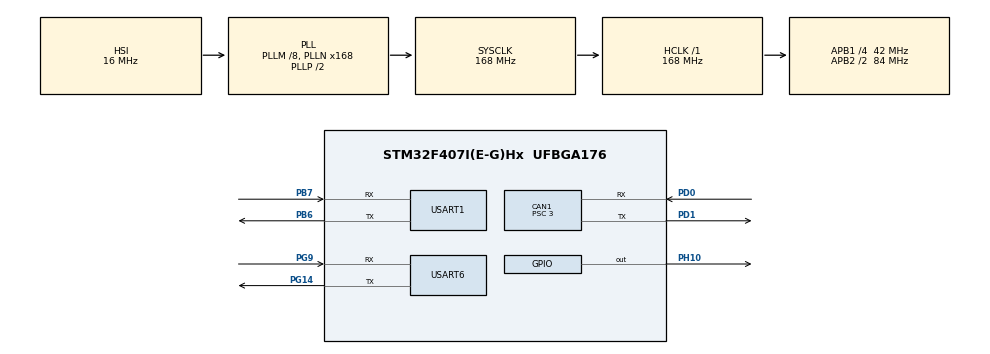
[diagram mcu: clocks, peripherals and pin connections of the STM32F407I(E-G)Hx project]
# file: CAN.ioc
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CAN1.BS1=CAN_BS1_10TQ
CAN1.BS2=CAN_BS2_3TQ
CAN1.CalculateBaudRate=1000000
CAN1.CalculateTimeBit=1000
CAN1.CalculateTimeQuantum=71.42857142857143
CAN1.Mode=CAN_MODE_NORMAL
CAN1.Prescaler=3
FREERTOS.Tasks01=defaultTask,0,128,StartDefaultTask,Default,NULL,Dynamic,NULL,NULL;gm6020,0,128,drive,As external,NULL,Dynamic,NULL,NULL;pid_test,0,128,test,As external,NULL,Dynamic,NULL,NULL
Mcu.Family=STM32F4
Mcu.Name=STM32F407I(E-G)Hx
Mcu.Package=UFBGA176
NVIC.CAN1_RX0_IRQn=true\:5\:0\:false\:false\:true\:true\:true\:true\:true
NVIC.PriorityGroup=NVIC_PRIORITYGROUP_4
PA13.Mode=Serial_Wire
PA13.Signal=SYS_JTMS-SWDIO
PA14.Mode=Serial_Wire
PA14.Signal=SYS_JTCK-SWCLK
PB6.Mode=Asynchronous
PB6.Signal=USART1_TX
PB7.Mode=Asynchronous
PB7.Signal=USART1_RX
PD0.Mode=CAN_Activate
PD0.Signal=CAN1_RX
PD1.Mode=CAN_Activate
PD1.Signal=CAN1_TX
PG14.Mode=Asynchronous
PG14.Signal=USART6_TX
PG9.Mode=Asynchronous
PG9.Signal=USART6_RX
PH0-OSC_IN.Mode=HSE-External-Oscillator
PH0-OSC_IN.Signal=RCC_OSC_IN
PH1-OSC_OUT.Mode=HSE-External-Oscillator
PH1-OSC_OUT.Signal=RCC_OSC_OUT
PH10.Signal=GPIO_Output
ProjectManager.HeapSize=0x200
ProjectManager.StackSize=0x400
ProjectManager.TargetToolchain=MDK-ARM V5.32
RCC.48MHZClocksFreq_Value=84000000
RCC.AHBFreq_Value=168000000
RCC.APB1CLKDivider=RCC_HCLK_DIV4
RCC.APB1Freq_Value=42000000
RCC.APB1TimFreq_Value=84000000
RCC.APB2CLKDivider=RCC_HCLK_DIV2
RCC.APB2Freq_Value=84000000
RCC.APB2TimFreq_Value=168000000
RCC.CortexFreq_Value=168000000
RCC.HCLKFreq_Value=168000000
RCC.HSE_VALUE=25000000
RCC.HSI_VALUE=16000000
RCC.LSE_VALUE=32768
RCC.PLLM=8
RCC.PLLN=168
RCC.SYSCLKFreq_VALUE=168000000
RCC.SYSCLKSource=RCC_SYSCLKSOURCE_PLLCLK
RCC.VCOOutputFreq_Value=336000000
USART1.VirtualMode=VM_ASYNC
USART6.VirtualMode=VM_ASYNC
VP_FREERTOS_VS_CMSIS_V1.Mode=CMSIS_V1
board=custom

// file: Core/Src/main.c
/* USER CODE BEGIN Header */
/**
  ******************************************************************************
  * @file           : main.c
  * @brief          : Main program body
  ******************************************************************************
  * @attention
  *
  * Copyright (c) 2025 STMicroelectronics.
  * All rights reserved.
  *
  * This software is licensed under terms that can be found in the LICENSE file
  * in the root directory of this software component.
  * If no LICENSE file comes with this software, it is provided AS-IS.
  *
  ******************************************************************************
  */
/* USER CODE END Header */
#include "main.h"
#include "cmsis_os.h"
#include "can.h"
#include "usart.h"
#include "gpio.h"

/* USER CODE BEGIN Includes */
#include "motor.h"
#include <stdio.h>
#include "pid.h"
/* USER CODE END Includes */

/* USER CODE BEGIN PTD */
float motor_data[4];
int target=0;
/* USER CODE END PTD */

void SystemClock_Config(void);
void MX_FREERTOS_Init(void);

/* USER CODE BEGIN 0 */
void drive()
{
	while(1)
	{
		deg_pid(target,&deg_k,motor_data);
		speed_pid(deg_k.speed_output,&speed_k,motor_data);
		//speed_pid(target,&speed_k,motor_data);
		volt_gen(speed_k.speed_output,0,0,0,volt_val);
		Motor_send(0x1FF,8,volt_val);
		vTaskDelay(1);
	}
}

void test()
{
	//target=200;
	while(1)
	{
		//target+=2048;
		//target%=8192;
		target=1000;
		deg_k.e_int=0;
		speed_k.e_int=0;
		vTaskDelay(500);
		target=3000;
		deg_k.e_int=0;
		speed_k.e_int=0;
		vTaskDelay(500);
	}
}
/* USER CODE END 0 */

int main(void)
{

  /* MCU Configuration--------------------------------------------------------*/

  /* Reset of all peripherals, Initializes the Flash interface and the Systick. */
  HAL_Init();

  /* Configure the system clock */
  SystemClock_Config();

  /* Initialize all configured peripherals */
  MX_GPIO_Init();
  MX_CAN1_Init();
  MX_USART1_UART_Init();
  MX_USART6_UART_Init();
  /* USER CODE BEGIN 2 */
	can_filter_init();
	uint8_t buf[8]={0x07,0xD0,0x07,0xD0,0x07,0xD0,0x07,0xD0};
	speed_k.kp=0;speed_k.ki=6;speed_k.kd=1;speed_k.epsilon=200;
	deg_k.kp=2.4;deg_k.ki=0;deg_k.kd=20;deg_k.epsilon=100;
  /* USER CODE END 2 */

  /* Call init function for freertos objects (in cmsis_os2.c) */
  MX_FREERTOS_Init();

  /* Start scheduler */
  osKernelStart();

  /* We should never get here as control is now taken by the scheduler */

  /* Infinite loop */
  /* USER CODE BEGIN WHILE */
	//char buffer[30];

  while (1)
  {
	//	sprintf(buffer,"%06d,%06d,%06d,%06d\n",motor_data[0],motor_data[1],motor_data[2],motor_data[3]);
		//Motor_send(0x1FF,8,buf);

		//speed_pid(200,&speed_k,motor_data);

		//HAL_UART_Transmit(&huart6,buffer,28,HAL_MAX_DELAY);
    /* USER CODE END WHILE */

  }
}

void SystemClock_Config(void)
{
  RCC_OscInitTypeDef RCC_OscInitStruct = {0};
  RCC_ClkInitTypeDef RCC_ClkInitStruct = {0};

  /** Configure the main internal regulator output voltage
  */
  __HAL_RCC_PWR_CLK_ENABLE();
  __HAL_PWR_VOLTAGESCALING_CONFIG(PWR_REGULATOR_VOLTAGE_SCALE1);

  /** Initializes the RCC Oscillators according to the specified parameters
  * in the RCC_OscInitTypeDef structure.
  */
  RCC_OscInitStruct.OscillatorType = RCC_OSCILLATORTYPE_HSI;
  RCC_OscInitStruct.HSIState = RCC_HSI_ON;
  RCC_OscInitStruct.HSICalibrationValue = RCC_HSICALIBRATION_DEFAULT;
  RCC_OscInitStruct.PLL.PLLState = RCC_PLL_ON;
  RCC_OscInitStruct.PLL.PLLSource = RCC_PLLSOURCE_HSI;
  RCC_OscInitStruct.PLL.PLLM = 8;
  RCC_OscInitStruct.PLL.PLLN = 168;
  RCC_OscInitStruct.PLL.PLLP = RCC_PLLP_DIV2;
  RCC_OscInitStruct.PLL.PLLQ = 4;
  if (HAL_RCC_OscConfig(&RCC_OscInitStruct) != HAL_OK)
  {
    Error_Handler();
  }

  /** Initializes the CPU, AHB and APB buses clocks
  */
  RCC_ClkInitStruct.ClockType = RCC_CLOCKTYPE_HCLK|RCC_CLOCKTYPE_SYSCLK
                              |RCC_CLOCKTYPE_PCLK1|RCC_CLOCKTYPE_PCLK2;
  RCC_ClkInitStruct.SYSCLKSource = RCC_SYSCLKSOURCE_PLLCLK;
  RCC_ClkInitStruct.AHBCLKDivider = RCC_SYSCLK_DIV1;
  RCC_ClkInitStruct.APB1CLKDivider = RCC_HCLK_DIV4;
  RCC_ClkInitStruct.APB2CLKDivider = RCC_HCLK_DIV2;

  if (HAL_RCC_ClockConfig(&RCC_ClkInitStruct, FLASH_LATENCY_5) != HAL_OK)
  {
    Error_Handler();
  }
}

void Error_Handler(void)
{
  __disable_irq();
  while (1)
  {
  }
}

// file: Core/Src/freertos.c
/* USER CODE BEGIN Header */
/**
  ******************************************************************************
  * File Name          : freertos.c
  * Description        : Code for freertos applications
  ******************************************************************************
  * @attention
  *
  * Copyright (c) 2025 STMicroelectronics.
  * All rights reserved.
  *
  * This software is licensed under terms that can be found in the LICENSE file
  * in the root directory of this software component.
  * If no LICENSE file comes with this software, it is provided AS-IS.
  *
  ******************************************************************************
  */
/* USER CODE END Header */

#include "FreeRTOS.h"
#include "task.h"
#include "main.h"
#include "cmsis_os.h"

osThreadId defaultTaskHandle;
osThreadId gm6020Handle;
osThreadId pid_testHandle;

void StartDefaultTask(void const * argument);
extern void drive(void const * argument);
extern void test(void const * argument);

void MX_FREERTOS_Init(void); /* (MISRA C 2004 rule 8.1) */

/* GetIdleTaskMemory prototype (linked to static allocation support) */
void vApplicationGetIdleTaskMemory( StaticTask_t **ppxIdleTaskTCBBuffer, StackType_t **ppxIdleTaskStackBuffer, uint32_t *pulIdleTaskStackSize );

/* USER CODE BEGIN GET_IDLE_TASK_MEMORY */
static StaticTask_t xIdleTaskTCBBuffer;
static StackType_t xIdleStack[configMINIMAL_STACK_SIZE];

void vApplicationGetIdleTaskMemory( StaticTask_t **ppxIdleTaskTCBBuffer, StackType_t **ppxIdleTaskStackBuffer, uint32_t *pulIdleTaskStackSize )
{
  *ppxIdleTaskTCBBuffer = &xIdleTaskTCBBuffer;
  *ppxIdleTaskStackBuffer = &xIdleStack[0];
  *pulIdleTaskStackSize = configMINIMAL_STACK_SIZE;
  /* place for user code */
}
/* USER CODE END GET_IDLE_TASK_MEMORY */

void MX_FREERTOS_Init(void) {

  /* Create the thread(s) */
  /* definition and creation of defaultTask */
  osThreadDef(defaultTask, StartDefaultTask, osPriorityNormal, 0, 128);
  defaultTaskHandle = osThreadCreate(osThread(defaultTask), NULL);

  /* definition and creation of gm6020 */
  osThreadDef(gm6020, drive, osPriorityNormal, 0, 128);
  gm6020Handle = osThreadCreate(osThread(gm6020), NULL);

  /* definition and creation of pid_test */
  osThreadDef(pid_test, test, osPriorityNormal, 0, 128);
  pid_testHandle = osThreadCreate(osThread(pid_test), NULL);

}

void StartDefaultTask(void const * argument)
{
  for(;;)
  {
    osDelay(1);
  }
}
